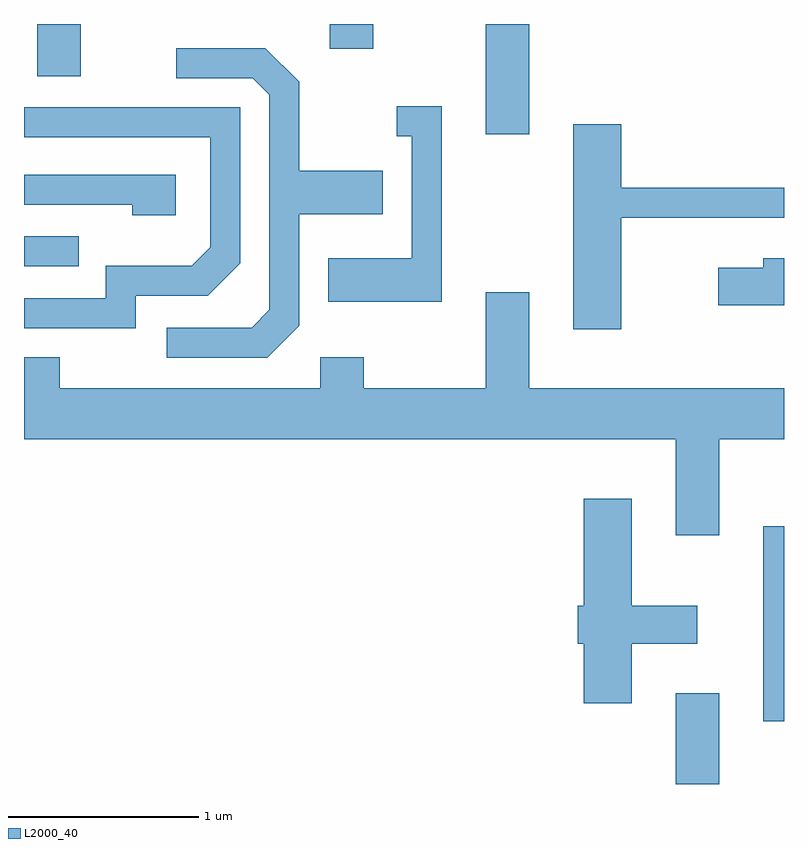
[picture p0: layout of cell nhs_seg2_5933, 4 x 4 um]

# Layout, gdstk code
import gdstk
lib = gdstk.Library(unit=1e-6, precision=1e-09)
def R(c, l, rs):  # rectangles x0, y0, x1, y1
    for r in rs: c.add(gdstk.rectangle(r[:2], r[2:], *l))
def P(c, l, *ps):  # polygons
    for p in ps: c.add(gdstk.Polygon(p, *l))
L2000_40 = (2000, 40)

nhs_seg2_5933 = lib.new_cell('nhs_seg2_5933')
R(nhs_seg2_5933, L2000_40, [(363.041,1079.802,363.269,1080.279), (363.501,1080.131,363.611,1081.159), (359.611,1082.526,359.898,1082.684), (362.041,1083.221,362.269,1083.802), (359.681,1083.526,359.909,1083.802), (361.221,1083.671,361.449,1083.802)])
P(nhs_seg2_5933, L2000_40, [(361.059,1082.214),(361.059,1082.801),(361.499,1082.801),(361.499,1083.029),(361.059,1083.029),(361.059,1083.497),(360.882,1083.674),(360.413,1083.674),(360.413,1083.516),(360.814,1083.516),(360.901,1083.429),(360.901,1082.297),(360.809,1082.204),(360.363,1082.204),(360.363,1082.046),(360.892,1082.046)],
  [(361.809,1083.369),(361.573,1083.369),(361.573,1083.211),(361.651,1083.211),(361.651,1082.569),(361.211,1082.569),(361.211,1082.341),(361.809,1082.341)],
  [(360.199,1082.371),(360.577,1082.371),(360.749,1082.544),(360.749,1083.364),(359.611,1083.364),(359.611,1083.206),(360.591,1083.206),(360.591,1082.627),(360.494,1082.529),(360.041,1082.529),(360.041,1082.359),(359.611,1082.359),(359.611,1082.201),(360.199,1082.201)],
  [(362.754,1082.781),(363.611,1082.781),(363.611,1082.939),(362.754,1082.939),(362.754,1083.274),(362.501,1083.274),(362.501,1082.196),(362.754,1082.196)],
  [(360.409,1083.009),(359.611,1083.009),(359.611,1082.851),(360.181,1082.851),(360.181,1082.796),(360.409,1082.796)],
  [(363.611,1082.569),(363.501,1082.569),(363.501,1082.519),(363.266,1082.519),(363.266,1082.321),(363.611,1082.321)],
  [(363.269,1081.616),(363.611,1081.616),(363.611,1081.884),(362.269,1081.884),(362.269,1082.389),(362.041,1082.389),(362.041,1081.884),(361.399,1081.884),(361.399,1082.049),(361.171,1082.049),(361.171,1081.884),(359.799,1081.884),(359.799,1082.049),(359.611,1082.049),(359.611,1081.616),(363.041,1081.616),(363.041,1081.111),(363.269,1081.111)],
  [(362.809,1080.541),(363.154,1080.541),(363.154,1080.739),(362.809,1080.739),(362.809,1081.304),(362.556,1081.304),(362.556,1080.739),(362.526,1080.739),(362.526,1080.541),(362.556,1080.541),(362.556,1080.226),(362.809,1080.226)])

lib.write_gds('nhs_seg2_5933.gds')
